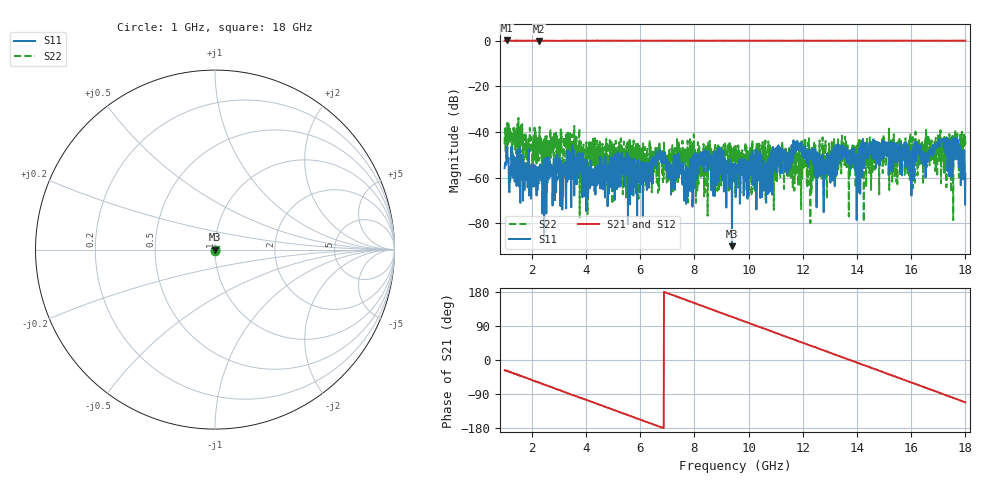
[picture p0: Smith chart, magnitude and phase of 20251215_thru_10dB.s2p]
#  HZ  S  DB  R  50.00
! Rohde & Schwarz ZVA40 4Ports - Version 4.11 - 1145.1110k42 SN: 100337
! Date: 2025-12-16 12:52:32
! Measurements: S11 S41 S14 S44
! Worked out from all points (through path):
!   1701 points, 1 GHz to 18 GHz, reference 50 ohm
!   highest |S21| = 0.15 dB at 1.1 GHz (marker M1); lowest = -0.1 dB at 2.26 GHz (marker M2)
!   group delay of S21, straight-line fit = 72.7 ps
!   lowest |S11| = -90.0 dB at 9.39 GHz (marker M3), VSWR 1.00, Z = 50 + j0.000354 ohm
!   |S11| at or under -10 dB: start of sweep to end of sweep
!   |S22| runs from -79.9 to -33.8 dB; largest |S21 - S12| = 0.025
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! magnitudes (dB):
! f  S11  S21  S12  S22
! 1 GHz  -55.8  0.1  0.0  -45.3
! 1.1 GHz  -46.2  0.2  0.1  -36.0
! 2.26 GHz  -55.2  -0.1  0.0  -52.5
! 3.84 GHz  -49.1  0.1  0.0  -46.8
! 4.09 GHz  -64.7  0.0  0.0  -48.4
! 6.18 GHz  -61.8  0.1  0.0  -46.5
! 6.67 GHz  -52.3  0.0  0.0  -53.2
! 7.69 GHz  -71.4  0.0  0.0  -52.0
! 8.39 GHz  -49.1  0.0  0.0  -50.5
! 9.39 GHz  -90.0  0.0  0.0  -51.5
! 9.5 GHz  -53.7  0.1  0.0  -56.1
! 10.65 GHz  -71.0  0.0  0.0  -49.0
! 11.73 GHz  -44.3  0.1  0.0  -46.2
! 12.34 GHz  -50.1  0.0  0.0  -57.4
! 12.57 GHz  -56.3  0.0  0.0  -53.8
! 13.55 GHz  -47.6  0.0  0.0  -51.6
! 14.05 GHz  -66.3  0.1  0.0  -44.7
! 14.29 GHz  -44.7  0.0  0.0  -44.8
! 15.17 GHz  -58.8  0.1  0.0  -47.4
! 16.54 GHz  -53.3  0.1  0.0  -48.9
! 17.09 GHz  -43.9  0.1  0.0  -46.9
! 18 GHz  -58.3  0.1  0.0  -45.2
